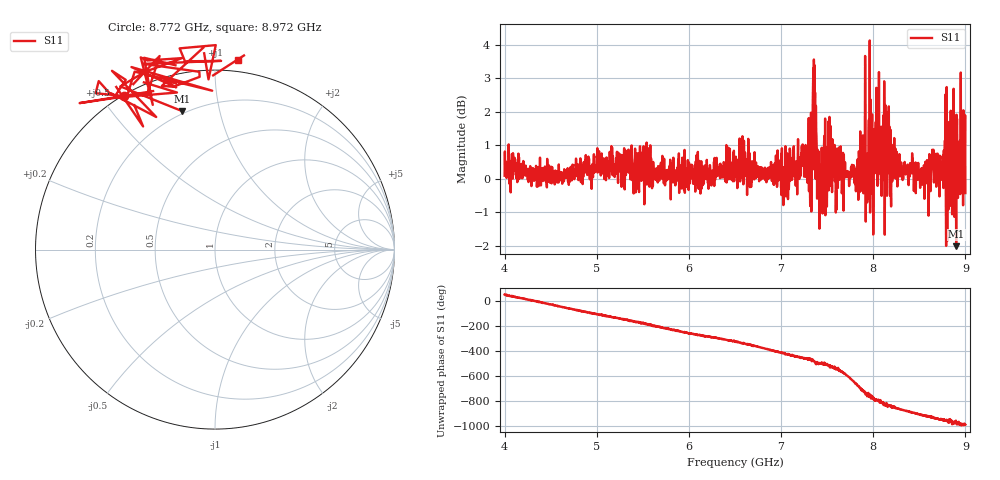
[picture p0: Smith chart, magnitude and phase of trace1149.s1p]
! Created with skrf 1.8.0 (http://scikit-rf.org).
# Hz S RI R 50.0
!freq ReS11 ImS11
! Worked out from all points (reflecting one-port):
!   1601 points, 4 GHz to 9 GHz, reference 50 ohm
!   lowest |S11| = -2.0 dB at 8.9 GHz (marker M1), VSWR 8.70, Z = 9.25 + j38.6 ohm
!   phase of S11 starts at 53 deg and turns -1046 deg over the sweep
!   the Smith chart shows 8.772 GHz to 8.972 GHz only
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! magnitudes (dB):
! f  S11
! 4 GHz  0.1
! 4.625 GHz  -0.1
! 5.25 GHz  0.2
! 5.875 GHz  0.3
! 6.5 GHz  0.5
! 7.038 GHz  0.1
! 7.125 GHz  0.3
! 7.306 GHz  1.1
! 7.359 GHz  2.6
! 7.397 GHz  -0.3
! 7.425 GHz  0.2
! 7.538 GHz  1.6
! 7.578 GHz  0.3
! 7.75 GHz  0.1
! 7.831 GHz  0.6
! 7.891 GHz  0.7
! 7.941 GHz  0.2
! 7.962 GHz  4.1
! 8 GHz  -1.7
! 8.05 GHz  2.4
! 8.066 GHz  0.5
! 8.156 GHz  2.0
! 8.209 GHz  0.9
! 8.375 GHz  0.2
! 8.581 GHz  0.0
! 8.9 GHz  -2.0
! 8.972 GHz  0.6
! 9 GHz  -0.4
